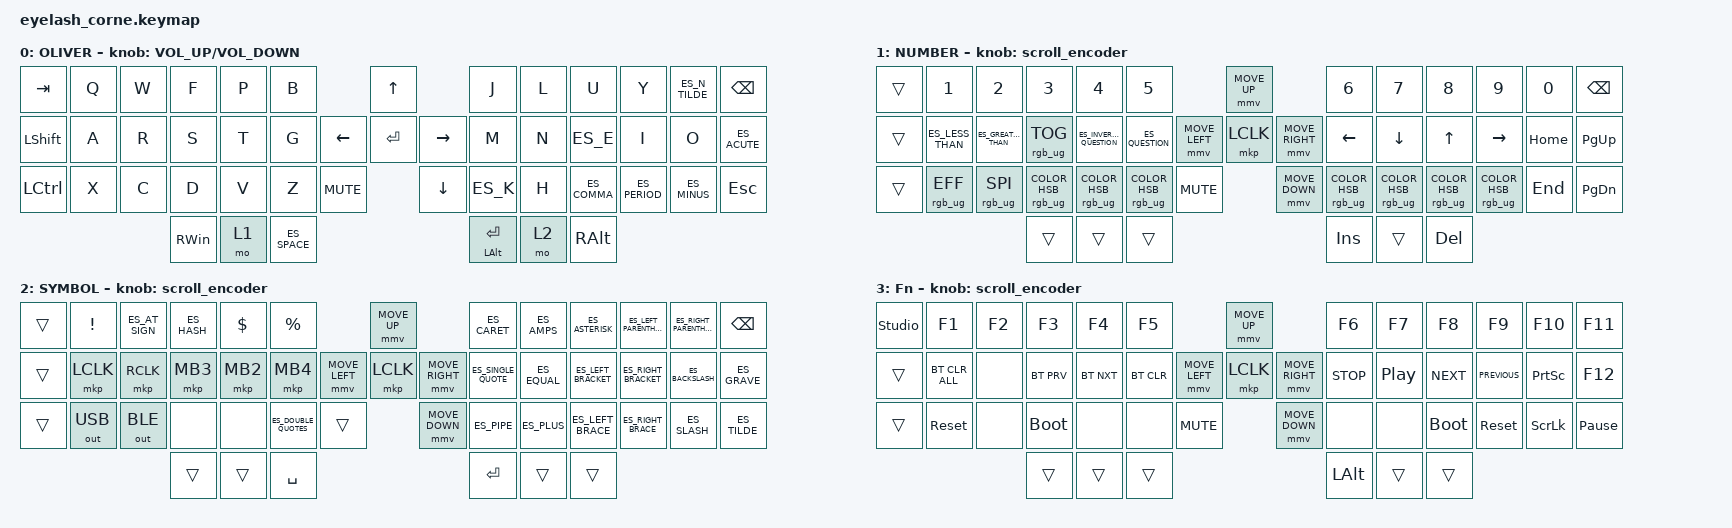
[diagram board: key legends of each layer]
#define ZMK_POINTING_DEFAULT_MOVE_VAL 1200  // 600
#define ZMK_POINTING_DEFAULT_SCRL_VAL 25   // 10

#include <input/processors.dtsi>
#include <zephyr/dt-bindings/input/input-event-codes.h>
#include "keys_es.h"
#include <behaviors.dtsi>
#include <dt-bindings/zmk/bt.h>
#include <dt-bindings/zmk/keys.h>
#include <dt-bindings/zmk/outputs.h>
#include <dt-bindings/zmk/pointing.h>
#include <dt-bindings/zmk/rgb.h>

&mmv_input_listener { input-processors = <&zip_xy_scaler 2 1>; };

&msc_input_listener { input-processors = <&zip_scroll_scaler 2 1>; };

&msc {
    acceleration-exponent = <1>;      // 0
    time-to-max-speed-ms = <100>;       // 300
    delay-ms = <0>;                   // 0
};

&mmv {
    time-to-max-speed-ms = <500>;
    acceleration-exponent = <1>;
    trigger-period-ms = <16>;
};

/ {
    behaviors {
        td0: td0 {
            compatible = "zmk,behavior-tap-dance";
            display-name = "Shift/Caps Lock Tap Dance";
            #binding-cells = <0>;
            bindings = <&kp LEFT_SHIFT>, <&kp CAPS>;
        };
    };

    rgb_encoder: rgb_encoder {
        compatible = "zmk,behavior-sensor-rotate";
        #sensor-binding-cells = <0>;
        bindings = <&rgb_ug RGB_BRI>, <&rgb_ug RGB_BRD>;
    };

    scroll_encoder: scroll_encoder {
        compatible = "zmk,behavior-sensor-rotate";
        #sensor-binding-cells = <0>;
        bindings = <&msc SCRL_DOWN>, <&msc SCRL_UP>;

        tap-ms = <100>;
    };

    combos {
        compatible = "zmk,combos";

        combo_capa_3 {
            bindings = <&mo 3>;
            key-positions = <43 46>;
            timeout-ms = <50>;
            slow-release;
        };

        arch_key {
            bindings = <&arch_key>;
            key-positions = <28 13 36>;
        };

        caps_lock {
            bindings = <&kp CAPSLOCK>;
            key-positions = <13 27>;
        };
    };

    macros {
        arch_key: arch_key {
            compatible = "zmk,behavior-macro";
            #binding-cells = <0>;
            bindings =
                <&macro_tap>,
                <&kp N1 &kp N0 &kp N1 &kp N2 &kp N1 &kp N9 &kp N5 &kp N7 &kp LS(O) &kp L &kp I &kp V &kp E &kp R &kp LS(R) &kp E &kp Y &kp E &kp S &kp ES_UNDER>;

            label = "ARCH_KEY";
        };
    };

    keymap {
        compatible = "zmk,keymap";

        default_layer {
            display-name = "OLIVER";
            bindings = <
&kp TAB         &kp Q  &kp W  &kp F     &kp P  &kp B                                 &kp UP                &kp J               &kp L  &kp U         &kp Y          &kp ES_N_TILDE  &kp BSPC
&kp LEFT_SHIFT  &kp A  &kp R  &kp S     &kp T  &kp G                       &kp LEFT  &kp ENTER  &kp RIGHT  &kp M               &kp N  &kp ES_E      &kp I          &kp O           &kp ES_ACUTE
&kp LCTRL       &kp X  &kp C  &kp D     &kp V  &kp Z         &kp C_MUTE              &kp DOWN              &kp ES_K            &kp H  &kp ES_COMMA  &kp ES_PERIOD  &kp ES_MINUS    &kp ESC
                              &kp RWIN  &mo 1  &kp ES_SPACE                                                &mt LEFT_ALT ENTER  &mo 2  &kp RALT
            >;

            sensor-bindings = <&inc_dec_kp C_VOLUME_UP C_VOLUME_DOWN>;
        };

        number {
            display-name = "NUMBER";
            bindings = <
&trans  &kp N1            &kp N2               &kp N3                          &kp N4                           &kp N5                                                          &mmv MOVE_UP                     &kp N6                             &kp N7                             &kp N8                             &kp N9                            &kp N0    &kp BSPC
&trans  &kp ES_LESS_THAN  &kp ES_GREATER_THAN  &rgb_ug RGB_TOG                 &kp ES_INVERTED_QUESTION         &kp ES_QUESTION                                 &mmv MOVE_LEFT  &mkp LCLK       &mmv MOVE_RIGHT  &kp LEFT                           &kp DOWN                           &kp UP                             &kp RIGHT                         &kp HOME  &kp PG_UP
&trans  &rgb_ug RGB_EFF   &rgb_ug RGB_SPI      &rgb_ug RGB_COLOR_HSB(0,0,100)  &rgb_ug RGB_COLOR_HSB(0,100,50)  &rgb_ug RGB_COLOR_HSB(60,100,52)  &kp C_MUTE                    &mmv MOVE_DOWN                   &rgb_ug RGB_COLOR_HSB(125,100,50)  &rgb_ug RGB_COLOR_HSB(182,100,50)  &rgb_ug RGB_COLOR_HSB(301,100,50)  &rgb_ug RGB_COLOR_HSB(231,90,69)  &kp END   &kp PG_DN
                                               &trans                          &trans                           &trans                                                                                           &kp INS                            &trans                             &kp DELETE
            >;

            sensor-bindings = <&scroll_encoder>;
        };

        symbol {
            display-name = "SYMBOL";
            bindings = <
&trans  &kp EXCL      &kp ES_AT_SIGN  &kp ES_HASH  &kp DLLR  &kp PRCNT                                       &mmv MOVE_UP                     &kp ES_CARET         &kp ES_AMPS   &kp ES_ASTERISK      &kp ES_LEFT_PARENTHESIS  &kp ES_RIGHT_PARENTHESIS  &kp BSPC
&trans  &mkp LCLK     &mkp RCLK       &mkp MB3     &mkp MB2  &mkp MB4                        &mmv MOVE_LEFT  &mkp LCLK       &mmv MOVE_RIGHT  &kp ES_SINGLE_QUOTE  &kp ES_EQUAL  &kp ES_LEFT_BRACKET  &kp ES_RIGHT_BRACKET     &kp ES_BACKSLASH          &kp ES_GRAVE
&trans  &out OUT_USB  &out OUT_BLE    &none        &none     &kp ES_DOUBLE_QUOTES  &trans                    &mmv MOVE_DOWN                   &kp ES_PIPE          &kp ES_PLUS   &kp ES_LEFT_BRACE    &kp ES_RIGHT_BRACE       &kp ES_SLASH              &kp ES_TILDE
                                      &trans       &trans    &kp SPACE                                                                        &kp RET              &trans        &trans
            >;

            sensor-bindings = <&scroll_encoder>;
        };

        fn {
            display-name = "Fn";
            bindings = <
&studio_unlock  &kp F1          &kp F2  &kp F3       &kp F4      &kp F5                                    &mmv MOVE_UP                     &kp F6        &kp F7            &kp F8       &kp F9          &kp F10          &kp F11
&trans          &bt BT_CLR_ALL  &none   &bt BT_PRV   &bt BT_NXT  &bt BT_CLR                &mmv MOVE_LEFT  &mkp LCLK       &mmv MOVE_RIGHT  &kp C_STOP    &kp C_PLAY_PAUSE  &kp C_NEXT   &kp C_PREVIOUS  &kp PRINTSCREEN  &kp F12
&trans          &sys_reset      &none   &bootloader  &none       &none       &kp C_MUTE                    &mmv MOVE_DOWN                   &none         &none             &bootloader  &sys_reset      &kp SCROLLLOCK   &kp PAUSE_BREAK
                                        &trans       &trans      &trans                                                                     &kp LEFT_ALT  &trans            &trans
            >;

            sensor-bindings = <&scroll_encoder>;
        };
    };
};
